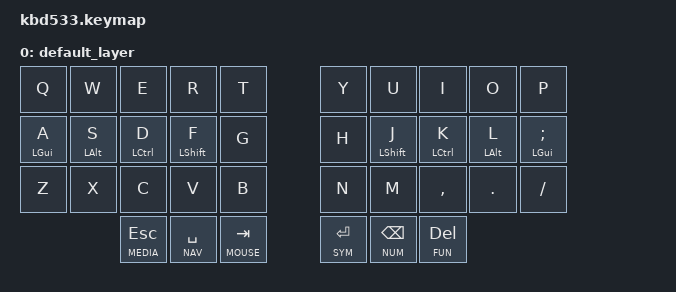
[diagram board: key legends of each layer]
#include <behaviors.dtsi>
#include <dt-bindings/zmk/keys.h>

#define BASE 0
#define NAV 1
#define MOUSE 2
#define MEDIA 3
#define NUM 4
#define SYM 5
#define FUN 6
#define ADJ 7

/ {
        keymap {
                compatible = "zmk,keymap";

                default_layer {
                        bindings = <
   &kp Q       &kp W       &kp E          &kp R          &kp T             &kp Y        &kp U         &kp I        &kp O       &kp P
   &hm LGUI A  &hm LALT S  &hm LCTRL D    &hm LSHFT F    &kp G             &kp H        &hm LSHFT J   &hm LCTRL K  &hm LALT L  &hm LGUI SEMI
   &kp Z       &kp X       &kp C          &kp V          &kp B             &kp N        &kp M         &kp COMMA    &kp DOT     &kp FSLH
                           &lt MEDIA ESC  &lt NAV SPACE  &lt MOUSE TAB     &lt SYM RET  &lt NUM BSPC  &lt FUN DEL
                        >;
                };
};
